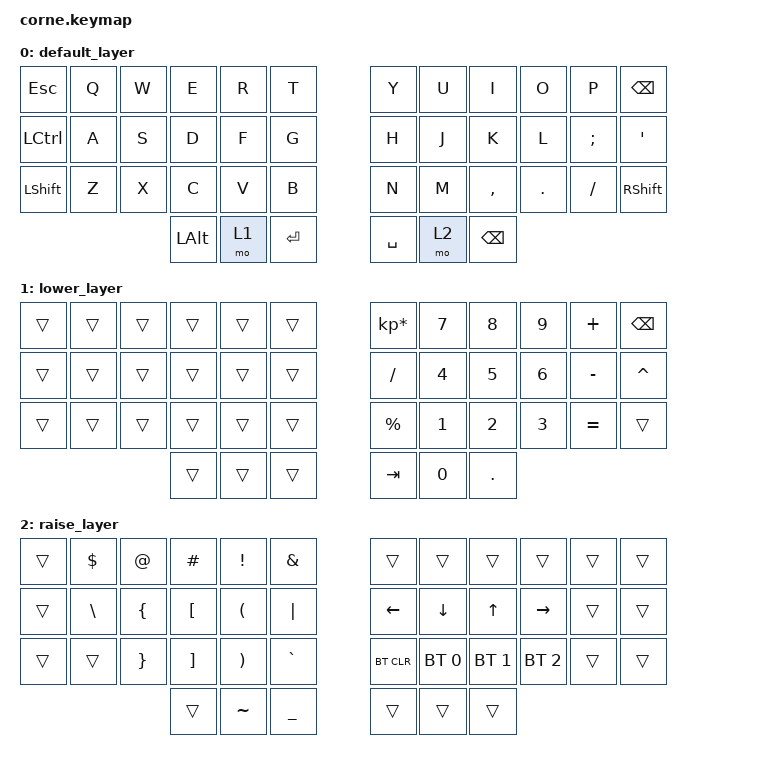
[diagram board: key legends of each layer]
/*
 * Copyright (c) 2020 The ZMK Contributors
 *
 * SPDX-License-Identifier: MIT
 */

#include <behaviors.dtsi>
#include <dt-bindings/zmk/keys.h>
#include <dt-bindings/zmk/bt.h>

/ {
        keymap {
                compatible = "zmk,keymap";

                default_layer {
// -----------------------------------------------------------------------------------------
// | ESC  |  Q  |  W  |  E  |  R  |  T  |   |  Y  |  U   |  I  |  O  |  P  | BKSP |
// | CTRL |  A  |  S  |  D  |  F  |  G  |   |  H  |  J   |  K  |  L  |  ;  |  '   |
// | SHFT |  Z  |  X  |  C  |  V  |  B  |   |  N  |  M   |  ,  |  .  |  /  | SHFT |
//                    | ALT | LWR | ENT |   | SPC | RSE  | BS  |
                        bindings = <
   &kp ESC   &kp Q &kp W &kp E &kp R &kp T   &kp Y &kp U  &kp I     &kp O   &kp P    &kp BSPC
   &kp LCTRL &kp A &kp S &kp D &kp F &kp G   &kp H &kp J  &kp K     &kp L   &kp SEMI &kp SQT
   &kp LSHFT &kp Z &kp X &kp C &kp V &kp B   &kp N &kp M  &kp COMMA &kp DOT &kp FSLH &kp RSHFT 
                   &kp LALT &mo 1 &kp RET    &kp SPACE &mo 2 &kp BSPC
                        >;
                };
                lower_layer {
// -----------------------------------------------------------------------------------------
// |      |     |     |     |     |     |   |  *  |  7  |  8  |  9  |  +  | BKSP |
// |      |     |     |     |     |     |   |  /  |  4  |  5  |  6  |  -  |  ^   |
// |      |     |     |     |     |     |   |  %  |  1  |  2  |  3  |  =  |      |
//                    |     |     |     |   | ENT |  0  |  .  |
                        bindings = <
   &trans &trans &trans &trans &trans &trans     &kp KP_MULTIPLY  &kp N7  &kp N8  &kp N9  &kp PLUS  &kp BSPC
   &trans &trans &trans &trans &trans &trans     &kp FSLH         &kp N4  &kp N5  &kp N6  &kp MINUS &kp CARET
   &trans &trans &trans &trans &trans &trans     &kp PRCNT        &kp N1  &kp N2  &kp N3  &kp EQUAL &trans
                        &trans &trans &trans     &kp TAB          &kp N0  &kp DOT
                        >;
                };

                raise_layer {
// -----------------------------------------------------------------------------------------
// |      |  $  |  @  |  #  |  !  |  &  |   |     |     |     |     |     |      |
// |      |  \  |  {  |  [  |  (  |  |  |   |     |     |     |     |     |      |
// |      |     |  }  |  [  |  )  |  `  |   |     |     |     |     |     |      |
//                    |     |  ~  |  _  |   |     |     |     |
                        bindings = <
   &trans  &kp DLLR &kp AT   &kp HASH  &kp EXCL  &kp AMPS   &trans   &trans       &trans       &trans       &trans &trans 
   &trans  &kp BSLH &kp LBRC &kp LBKT  &kp LPAR  &kp PIPE   &kp LEFT &kp DOWN     &kp UP       &kp RIGHT    &trans &trans 
   &trans  &trans   &kp RBRC &kp RBKT  &kp RPAR  &kp GRAVE  &bt BT_CLR   &bt BT_SEL 0 &bt BT_SEL 1 &bt BT_SEL 2 &trans &trans
                    	     &trans    &kp TILDE &kp UNDER  &trans   &trans   &trans
                        >;
                };
        };
};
